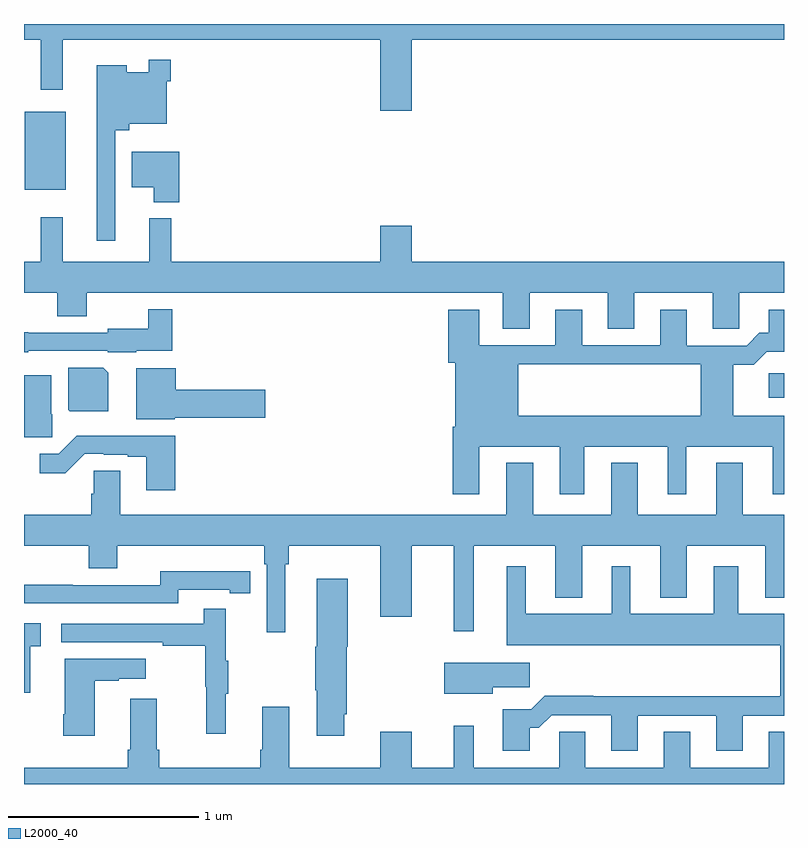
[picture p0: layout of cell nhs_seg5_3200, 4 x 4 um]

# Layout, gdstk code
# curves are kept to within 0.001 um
import gdstk
lib = gdstk.Library(unit=1e-6, precision=1e-09)
def R(c, l, rs):  # rectangles x0, y0, x1, y1
    for r in rs: c.add(gdstk.rectangle(r[:2], r[2:], *l))
def P(c, l, *ps):  # polygons
    for p in ps: c.add(gdstk.Polygon(p, *l))
L2000_40 = (2000, 40)

nhs_seg5_3200 = lib.new_cell('nhs_seg5_3200')
R(nhs_seg5_3200, L2000_40, [(298.92,898.832,299,898.961), (295.004,899.927,295.219,900.337)])
P(nhs_seg5_3200, L2000_40, [(295,900.716),(295.087,900.716),(295.087,900.453),(295.204,900.453),(295.204,900.716),(296.876,900.716),(296.876,900.342),(297.04,900.342),(297.04,900.716),(299,900.716),(299,900.799),(295,900.799)],
  [(295.479,900.239),(295.553,900.239),(295.553,900.275),(295.752,900.275),(295.752,900.497),(295.772,900.497),(295.772,900.61),(295.656,900.61),(295.656,900.544),(295.54,900.544),(295.54,900.583),(295.382,900.583),(295.382,899.658),(295.479,899.658)],
  [(295.817,900.127),(295.568,900.127),(295.568,899.939),(295.682,899.939),(295.682,899.861),(295.817,899.861)],
  [(297.661,899.384),(298.073,899.384),(298.073,899.194),(298.213,899.194),(298.213,899.384),(298.625,899.384),(298.625,899.194),(298.764,899.194),(298.764,899.384),(299,899.384),(299,899.548),(297.04,899.548),(297.04,899.737),(296.876,899.737),(296.876,899.548),(295.775,899.548),(295.775,899.776),(295.658,899.776),(295.658,899.548),(295.205,899.548),(295.205,899.782),(295.087,899.782),(295.087,899.548),(295,899.548),(295,899.384),(295.174,899.384),(295.174,899.26),(295.329,899.26),(295.329,899.384),(297.521,899.384),(297.521,899.194),(297.661,899.194)],
  [(295.023,899.079),(295.44,899.079),(295.44,899.072),(295.59,899.072),(295.59,899.078),(295.781,899.078),(295.781,899.299),(295.653,899.299),(295.653,899.194),(295.44,899.194),(295.44,899.175),(295.023,899.175),(295.023,899.177),(295,899.177),(295,899.072),(295.023,899.072)],
  [(297.257,898.678),(297.257,898.323),(297.397,898.323),(297.397,898.574),(297.821,898.574),(297.821,898.323),(297.949,898.323),(297.949,898.574),(298.388,898.574),(298.388,898.323),(298.486,898.323),(298.486,898.574),(298.94,898.574),(298.94,898.323),(299,898.323),(299,898.738),(298.732,898.738),(298.732,899.006),(298.841,899.006),(298.91,899.075),(299,899.075),(299,899.296),(298.919,899.296),(298.919,899.173),(298.87,899.173),(298.803,899.106),(298.489,899.106),(298.489,899.296),(298.349,899.296),(298.349,899.109),(297.937,899.109),(297.937,899.296),(297.797,899.296),(297.797,899.109),(297.397,899.109),(297.397,899.296),(297.233,899.296),(297.233,899.016),(297.269,899.016),(297.269,898.738),(297.601,898.738),(297.601,899.008),(298.562,899.008),(298.562,898.738),(297.269,898.738),(297.269,898.678)],
  [(295.444,898.964),(295.418,898.99),(295.232,898.99),(295.232,898.768),(295.24,898.76),(295.444,898.76)],
  [(295.794,898.727),(296.269,898.727),(296.269,898.874),(295.798,898.874),(295.798,898.988),(295.592,898.988),(295.592,898.718),(295.794,898.718)],
  [(295.148,898.746),(295.144,898.746),(295.144,898.951),(295,898.951),(295,898.623),(295.148,898.623)],
  [(295.796,898.631),(295.277,898.631),(295.182,898.536),(295.083,898.536),(295.083,898.434),(295.218,898.434),(295.32,898.536),(295.42,898.536),(295.42,898.533),(295.547,898.533),(295.547,898.521),(295.643,898.521),(295.643,898.344),(295.796,898.344)],
  [(295,898.052),(295.34,898.052),(295.34,897.935),(295.492,897.935),(295.492,898.052),(296.264,898.052),(296.264,897.956),(296.277,897.956),(296.277,897.597),(296.374,897.597),(296.374,897.956),(296.393,897.956),(296.393,898.052),(296.876,898.052),(296.876,897.678),(297.04,897.678),(297.04,898.052),(297.263,898.052),(297.263,897.603),(297.367,897.603),(297.367,898.052),(297.797,898.052),(297.797,897.779),(297.937,897.779),(297.937,898.052),(298.349,898.052),(298.349,897.779),(298.489,897.779),(298.489,898.052),(298.901,898.052),(298.901,897.779),(299,897.779),(299,898.216),(298.783,898.216),(298.783,898.489),(298.643,898.489),(298.643,898.216),(298.231,898.216),(298.231,898.489),(298.091,898.489),(298.091,898.216),(297.679,898.216),(297.679,898.489),(297.539,898.489),(297.539,898.216),(295.507,898.216),(295.507,898.448),(295.368,898.448),(295.368,898.326),(295.355,898.326),(295.355,898.216),(295,898.216)],
  [(297.661,897.095),(297.71,897.095),(297.777,897.162),(298.091,897.162),(298.091,896.973),(298.231,896.973),(298.231,897.159),(298.643,897.159),(298.643,896.973),(298.783,896.973),(298.783,897.159),(299,897.159),(299,897.694),(298.759,897.694),(298.759,897.946),(298.631,897.946),(298.631,897.694),(298.192,897.694),(298.192,897.946),(298.094,897.946),(298.094,897.694),(297.64,897.694),(297.64,897.946),(297.542,897.946),(297.542,897.53),(298.979,897.53),(298.979,897.26),(297.995,897.26),(297.995,897.263),(297.74,897.263),(297.67,897.193),(297.521,897.193),(297.521,896.973),(297.661,896.973)],
  [(295.812,897.822),(296.084,897.822),(296.084,897.802),(296.192,897.802),(296.192,897.918),(296.084,897.918),(296.084,897.919),(295.716,897.919),(295.716,897.846),(295.256,897.846),(295.256,897.848),(295,897.848),(295,897.75),(295.812,897.75)],
  [(296.686,897.166),(296.699,897.166),(296.699,897.522),(296.704,897.522),(296.704,897.88),(296.54,897.88),(296.54,897.522),(296.533,897.522),(296.533,897.292),(296.54,897.292),(296.54,897.054),(296.686,897.054)],
  [(296.063,897.275),(296.074,897.275),(296.074,897.449),(296.063,897.449),(296.063,897.721),(295.945,897.721),(295.945,897.642),(295.197,897.642),(295.197,897.546),(295.729,897.546),(295.729,897.526),(295.953,897.526),(295.953,897.312),(295.96,897.312),(295.96,897.063),(296.063,897.063)],
  [(295.034,897.525),(295.087,897.525),(295.087,897.646),(295,897.646),(295,897.279),(295.034,897.279)],
  [(295.372,897.343),(295.499,897.343),(295.499,897.353),(295.642,897.353),(295.642,897.457),(295.214,897.457),(295.214,897.166),(295.207,897.166),(295.207,897.054),(295.372,897.054)],
  [(297.466,897.307),(297.661,897.307),(297.661,897.436),(297.212,897.436),(297.212,897.275),(297.466,897.275)],
  [(299,897.074),(298.919,897.074),(298.919,896.884),(298.507,896.884),(298.507,897.074),(298.367,897.074),(298.367,896.884),(297.955,896.884),(297.955,897.074),(297.816,897.074),(297.816,896.884),(297.367,896.884),(297.367,897.106),(297.263,897.106),(297.263,896.884),(297.04,896.884),(297.04,897.073),(296.876,897.073),(296.876,896.884),(296.395,896.884),(296.395,897.205),(296.255,897.205),(296.255,896.98),(296.243,896.98),(296.243,896.884),(295.712,896.884),(295.712,896.98),(295.699,896.98),(295.699,897.247),(295.559,897.247),(295.559,896.98),(295.547,896.98),(295.547,896.884),(295,896.884),(295,896.799),(299,896.799)])

lib.write_gds('nhs_seg5_3200.gds')
